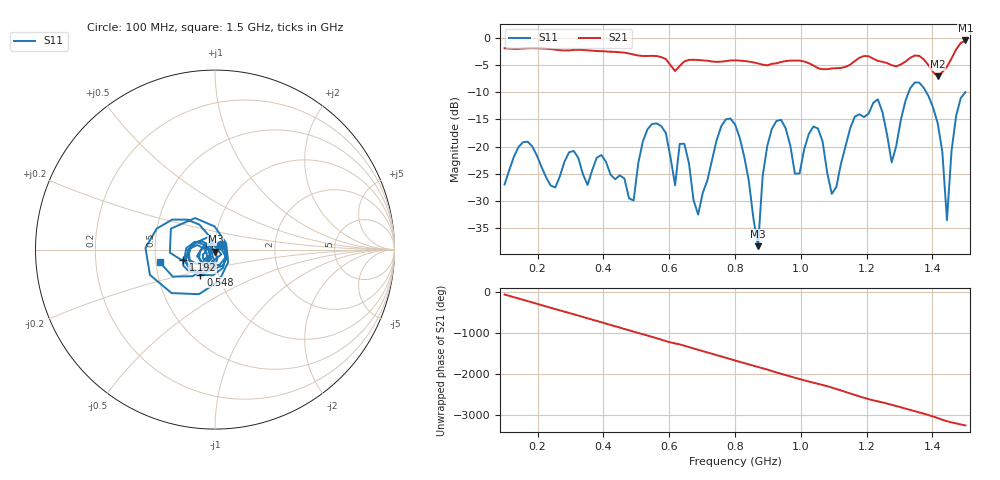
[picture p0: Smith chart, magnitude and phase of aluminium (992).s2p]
! NanoVNA-App
! Date: 2025-09-25 15:03:00
! Start: 100MHz Stop: 1,5GHz Points: 101
! S-Parameter data: F S11 S21 S12 S22
# Hz S RI R 50
!  Frequency  S11_Real  S11_Imag  S21_Real  S21_Imag  S12_Real  S12_Imag  S22_Real  S22_Imag
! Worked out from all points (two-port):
!   101 points, 100 MHz to 1.5 GHz, reference 50 ohm
!   highest |S21| = -0.49 dB at 1.5 GHz (marker M1); lowest = -7.1 dB at 1.416 GHz (marker M2)
!   |S21| within 3 dB of the highest: start of sweep to 571.6 MHz; 1.46 GHz to end of sweep (the widest 2 of 4)
!   lowest |S11| = -38.3 dB at 870 MHz (marker M3), VSWR 1.02, Z = 50.2 - j1.2 ohm
!   |S11| at or under -10 dB: start of sweep to 1.328 GHz; 1.381 GHz to 1.5 GHz (118.6 MHz wide, 8.24 % of centre)
!   S12 and S22 are empty: the file has one direction only
!   S11 on the Smith chart (normalised r, x): 100 MHz: 1.07, +0.06; 548 MHz: 0.82, -0.23; 1.192 GHz: 0.69, -0.08; 1.5 GHz: 0.52, -0.08
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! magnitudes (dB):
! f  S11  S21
! 100 MHz  -27.0  -1.9
! 156 MHz  -19.2  -2.0
! 338 MHz  -25.1  -2.2
! 492 MHz  -29.9  -3.1
! 548 MHz  -15.8  -3.3
! 576 MHz  -16.2  -3.5
! 646 MHz  -19.5  -4.3
! 688 MHz  -32.5  -4.1
! 800 MHz  -15.9  -4.1
! 870 MHz  -38.3  -4.7
! 912 MHz  -16.7  -4.8
! 996 MHz  -25.0  -4.2
! 1.038 GHz  -16.3  -5.1
! 1.094 GHz  -28.7  -5.6
! 1.192 GHz  -14.6  -3.4
! 1.234 GHz  -11.3  -4.2
! 1.276 GHz  -22.9  -5.0
! 1.346 GHz  -8.2  -3.3
! 1.416 GHz  -15.7  -7.1
! 1.444 GHz  -33.5  -5.3
! 1.472 GHz  -14.3  -2.1
! 1.5 GHz  -10.0  -0.5
